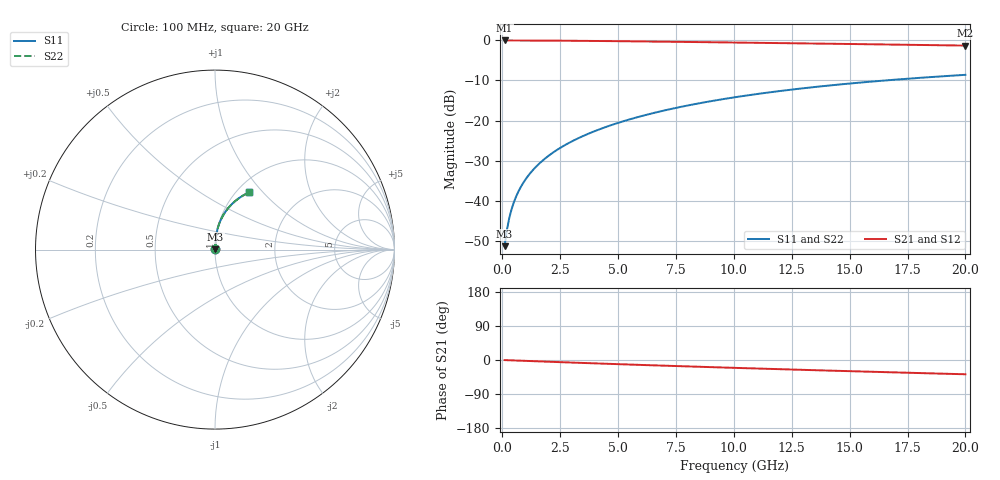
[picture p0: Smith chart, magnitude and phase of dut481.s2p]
! Touchstone file exported from HFSS 2024.1.0
!  File:  C:/UserFiles/LocalFiles/RDL_TSV_Batchsim/temp_RDL_bottom_481_1779686405.aedt
!  Generated:  01:22:32 PM May 25, 2026
!  Design:  RDL_bottom
!  Project:  temp_RDL_bottom_481_1779686405
!  Setup:  Setup1
!  Solution:  Sweep
! Variables:
!  dtsv = 10.80580581um
!  hbump = 3um
!  htsv = 56.72um
!  ldown = 511.03um
!  lrdl = 100um
!  p = 40
!  p1 = 56.65um
!  rhole = 1um
!  t = 450um
!  tdown = 4.86um
!  trdl = 3.915915916um
!  wdown = 21.44um
!  wrdl = 20um
# GHz S MA R 50.000000
! Terminal data exported
! Port[1] = RDL1_T1
! Port[2] = RDL1_T2
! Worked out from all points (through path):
!   200 points, 100 MHz to 20 GHz, reference 50 ohm
!   highest |S21| = -0.02 dB at 100 MHz (marker M1); lowest = -1.3 dB at 20 GHz (marker M2)
!   group delay of S21, straight-line fit = 5.18 ps
!   lowest |S11| = -51.3 dB at 100 MHz (marker M3), VSWR 1.01, Z = 50.2 + j0.195 ohm
!   |S11| at or under -10 dB: start of sweep to 16.53 GHz
!   |S22| runs from -51.3 to -8.6 dB; largest |S21 - S12| = 4.5e-15
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0.1  0.002709 45.7  0.9981 -0.2  0.9981 -0.2  0.002709 45.7
! Gamma 0 0 0 0
! Port Impedance 50 0 50 0
0.2  0.004321 62.7  0.998 -0.5  0.998 -0.5  0.004321 62.7
0.3  0.006065 69.8  0.9978 -0.7  0.9978 -0.7  0.006065 69.8
0.4  0.007822 73.7  0.9977 -0.9  0.9977 -0.9  0.007822 73.7
0.5  0.009576 76.2  0.9975 -1.2  0.9975 -1.2  0.009576 76.2
0.7  0.01308 79.3  0.9972 -1.6  0.9972 -1.6  0.01308 79.3
0.8  0.01484 80.3  0.997 -1.8  0.997 -1.8  0.01484 80.3
1  0.01837 81.8  0.9967 -2.3  0.9967 -2.3  0.01837 81.8
1.2  0.02193 82.9  0.9962 -2.8  0.9962 -2.8  0.02193 82.9
1.4  0.02551 83.6  0.9957 -3.2  0.9957 -3.2  0.02551 83.6
1.7  0.03091 84.4  0.9948 -3.9  0.9948 -3.9  0.03091 84.4
2  0.03637 84.9  0.9938 -4.6  0.9938 -4.6  0.03637 84.9
2.7  0.04928 85.4  0.9909 -6.1  0.9909 -6.1  0.04928 85.4
3.5  0.06436 85.3  0.9868 -7.9  0.9868 -7.9  0.06436 85.3
4.2  0.07783 85.0  0.9828 -9.3  0.9828 -9.3  0.07783 85.0
5  0.09351 84.3  0.9777 -11.0  0.9777 -11.0  0.09351 84.3
6.8  0.1296 82.1  0.9651 -14.6  0.9651 -14.6  0.1296 82.1
8.4  0.1621 79.6  0.9533 -17.7  0.9533 -17.7  0.1621 79.6
10.1  0.1964 76.6  0.9404 -20.9  0.9404 -20.9  0.1964 76.6
13.4  0.2604 70.6  0.9146 -26.8  0.9146 -26.8  0.2603 70.6
16.7  0.3191 64.7  0.8881 -32.3  0.8881 -32.3  0.3191 64.7
20  0.3717 59.1  0.8613 -37.6  0.8613 -37.6  0.3717 59.1
